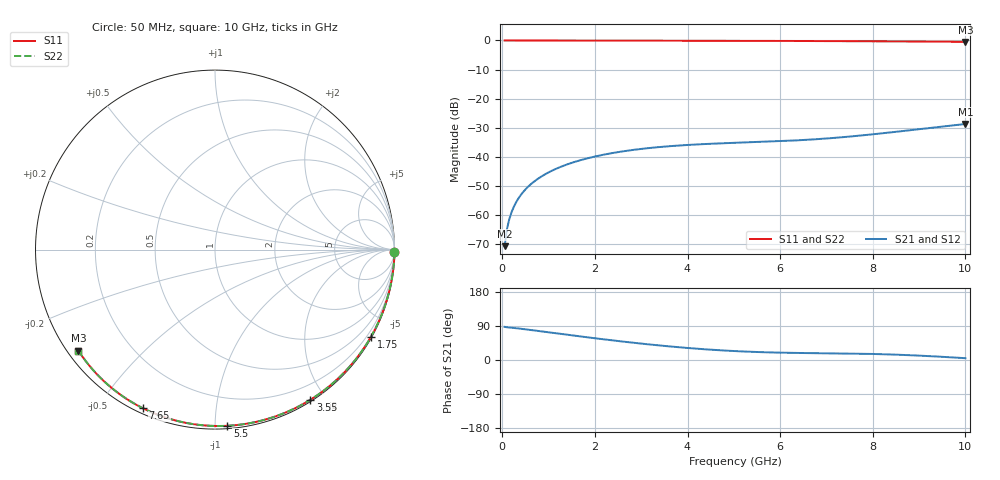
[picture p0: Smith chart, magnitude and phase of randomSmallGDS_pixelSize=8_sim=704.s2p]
! freq	dB(S11)	phase(S11)	dB(S12)	phase(S12)
!  dB(S21)	phase(S21)	dB(S22)	phase(S22)
!S-par simulation data
#  GHz  S  DB  R 50
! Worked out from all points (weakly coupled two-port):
!   200 points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, 50 MHz to 10 GHz, reference 50 ohm
!   highest |S21| = -28.74 dB at 10 GHz (marker M1); lowest = -70.8 dB at 50 MHz (marker M2)
!   lowest |S11| = -0.5 dB at 10 GHz (marker M3), VSWR 36.57, Z = 1.52 - j16.5 ohm
!   |S11| at or under -10 dB: nowhere
!   |S22| runs from -0.5 to 0.0 dB; largest |S21 - S12| = 0
!   S11 on the Smith chart (normalised r, x): 50 MHz: open; 1.75 GHz: 0.03, -3.84; 3.55 GHz: 0.02, -1.82; 5.5 GHz: 0.02, -1.07; 7.65 GHz: 0.02, -0.64; 10 GHz: 0.03, -0.33
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0.05  -0.00 -0.8  -70.78 87.5  -70.78 87.5  -0.00 -0.8
0.1  -0.00 -1.7  -64.95 86.4  -64.95 86.4  -0.00 -1.7
0.15  -0.00 -2.5  -61.53 85.8  -61.53 85.8  -0.00 -2.5
0.2  -0.00 -3.4  -59.09 85.2  -59.09 85.2  -0.00 -3.4
0.25  -0.00 -4.2  -57.19 84.6  -57.19 84.6  -0.00 -4.2
0.35  -0.00 -5.9  -54.31 83.2  -54.31 83.2  -0.00 -5.9
0.5  -0.01 -8.5  -51.25 81.0  -51.25 81.0  -0.01 -8.5
0.7  -0.01 -11.8  -48.38 77.8  -48.38 77.8  -0.01 -11.8
1  -0.02 -16.8  -45.38 73.0  -45.38 73.0  -0.02 -16.8
1.35  -0.03 -22.6  -42.94 67.4  -42.94 67.4  -0.03 -22.6
1.75  -0.04 -29.2  -40.92 61.2  -40.92 61.2  -0.04 -29.2
2.5  -0.05 -41.3  -38.41 50.1  -38.41 50.1  -0.05 -41.3
3.4  -0.07 -55.3  -36.66 38.3  -36.66 38.3  -0.07 -55.3
3.55  -0.08 -57.6  -36.46 36.6  -36.46 36.6  -0.08 -57.6
4.3  -0.10 -68.8  -35.70 28.9  -35.70 28.9  -0.10 -68.8
5.05  -0.12 -79.6  -35.20 23.4  -35.20 23.4  -0.12 -79.6
5.5  -0.14 -86.0  -34.95 21.1  -34.95 21.1  -0.14 -86.0
6.7  -0.20 -102.1  -34.06 18.1  -34.06 18.1  -0.20 -102.1
7.65  -0.26 -114.4  -32.85 16.8  -32.85 16.8  -0.26 -114.4
8.35  -0.31 -123.2  -31.69 14.7  -31.69 14.7  -0.31 -123.2
9.2  -0.39 -133.7  -30.17 10.4  -30.17 10.4  -0.39 -133.7
10  -0.48 -143.5  -28.74 4.8  -28.74 4.8  -0.48 -143.5
